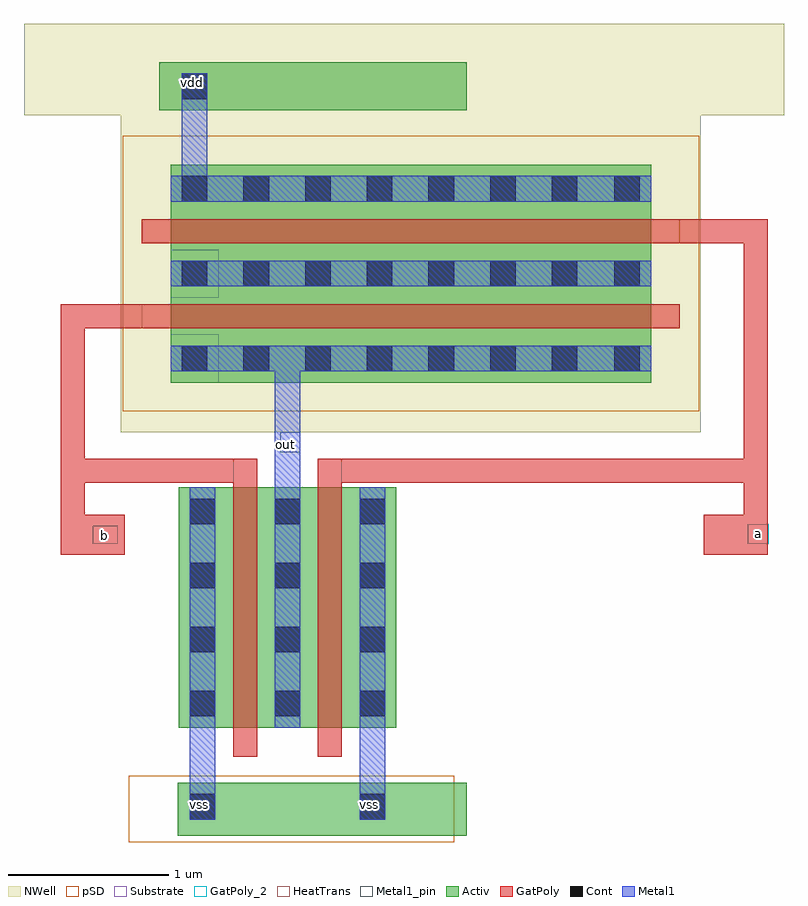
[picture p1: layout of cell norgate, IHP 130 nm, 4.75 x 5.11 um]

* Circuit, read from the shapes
.subckt norgate a b out vdd vss
XM1 out b vss vss sg13_lv_nmos w=1.5u l=0.15u
XM2 vss a out vss sg13_lv_nmos w=1.5u l=0.15u
XM3 n1 b out vdd sg13_lv_pmos w=3u l=0.15u
XM4 vdd a n1 vdd sg13_lv_pmos w=3u l=0.15u
.ends

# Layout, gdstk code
from math import pi, radians
import gdstk
lib = gdstk.Library(unit=1e-6, precision=5e-09)
def R(c, l, rs):  # rectangles x0, y0, x1, y1
    for r in rs: c.add(gdstk.rectangle(r[:2], r[2:], *l))
def A(c, l, x, y, w, h, nx, ny, dx, dy):  # array of equal rectangles
    R(c, l, [(x+i*dx, y+j*dy, x+i*dx+w, y+j*dy+h) for i in range(nx) for j in range(ny)])
Activ = (1, 0)
GatPoly = (5, 0)
GatPoly_2 = (5, 2)
Cont = (6, 0)
Metal1 = (8, 0)
Metal1_pin = (8, 2)
pSD = (14, 0)
NWell = (31, 0)
Substrate = (40, 0)
HeatTrans = (51, 0)

pmos_5 = lib.new_cell('pmos$5')
R(pmos_5, Activ, [(0,0,0.3,0.3), (0,0,0.83,3), (0.53,0,0.83,0.3)])
R(pmos_5, GatPoly, [(0.34,-0.18,0.49,3.18), (0.34,-0.18,0.49,3.18)])
A(pmos_5, Cont, 0.07, 0.07, 0.16, 0.16, 1, 7, 0, 0.385)
A(pmos_5, Cont, 0.6, 0.07, 0.16, 0.16, 1, 7, 0, 0.385)
R(pmos_5, Cont, [(0.07,2.77,0.23,2.93), (0.6,2.77,0.76,2.93)])
R(pmos_5, Metal1, [(0.07,0,0.23,3), (0.07,0,0.23,3), (0.6,0,0.76,3), (0.6,0,0.76,3)])
R(pmos_5, pSD, [(-0.18,-0.3,1.01,3.3)])
R(pmos_5, NWell, [(-0.31,-0.31,1.14,3.31)])
R(pmos_5, Substrate, [(0.53,0,0.83,0.3)])
R(pmos_5, HeatTrans, [(0.34,-0.18,0.49,3.18)])
pmos_5.add(gdstk.Label('pmos', (0.415,1.5), layer=63, texttype=0))
pmos_5.add(gdstk.Label('pmos', (0.415,1.5), layer=51, texttype=0))

nmos_1 = lib.new_cell('nmos$1')
R(nmos_1, Activ, [(0,0,0.3,0.3), (0,0,0.83,1.5), (0.53,0,0.83,0.3)])
R(nmos_1, GatPoly, [(0.34,-0.18,0.49,1.68)])
R(nmos_1, GatPoly_2, [(0.34,-0.18,0.49,1.68)])
A(nmos_1, Cont, 0.07, 0.07, 0.16, 0.16, 1, 4, 0, 0.4)
A(nmos_1, Cont, 0.6, 0.07, 0.16, 0.16, 1, 4, 0, 0.4)
R(nmos_1, Metal1, [(0.07,0,0.23,1.5), (0.6,0,0.76,1.5)])
R(nmos_1, Metal1_pin, [(0.07,0,0.23,1.5), (0.6,0,0.76,1.5)])
R(nmos_1, HeatTrans, [(0.34,-0.18,0.49,1.68)])
nmos_1.add(gdstk.Label('nmos', (0.415,0.75), layer=63, texttype=0))
nmos_1.add(gdstk.Label('nmos', (0.415,0.75), layer=51, texttype=0))

norgate = lib.new_cell('norgate')
R(norgate, Activ, [(-6.09,-2.62,-4.285,-2.29), (-6.205,1.91,-4.285,2.21)])
R(norgate, GatPoly, [(-6.82,-0.865,-6.42,-0.615), (-6.82,-0.865,-6.67,-0.415), (-2.805,-0.865,-2.405,-0.615), (-2.555,-0.865,-2.405,-0.415), (-6.82,-0.415,-6.67,0.55), (-6.82,-0.415,-6.315,-0.265), (-6.315,-0.415,-5.595,-0.265), (-5.215,-0.415,-2.405,-0.265), (-2.555,-0.415,-2.405,1.08), (-6.82,0.55,-6.315,0.7), (-2.955,1.08,-2.405,1.23)])
R(norgate, GatPoly_2, [(-6.62,-0.795,-6.465,-0.685), (-2.53,-0.795,-2.4,-0.675)])
R(norgate, Cont, [(-6.015,-2.52,-5.855,-2.36), (-4.955,-2.52,-4.795,-2.36), (-6.065,1.98,-5.905,2.14)])
R(norgate, Metal1, [(-6.015,-2.52,-5.855,-0.445), (-4.955,-2.52,-4.795,-0.445), (-5.485,-0.445,-5.325,0.44), (-6.065,1.34,-5.905,2.14)])
R(norgate, Metal1_pin, [(-6.015,-2.52,-5.855,-2.355), (-4.955,-2.52,-4.795,-2.355), (-5.45,-0.225,-5.325,-0.1), (-6.065,1.98,-5.905,2.14)])
R(norgate, pSD, [(-6.395,-2.66,-4.365,-2.245)])
R(norgate, NWell, [(-7.05,1.88,-2.305,2.45)])
norgate.add(gdstk.Reference(pmos_5, (-6.135,1.04), rotation=3*pi/2))
norgate.add(gdstk.Reference(pmos_5, (-6.135,1.57), rotation=3*pi/2))
norgate.add(gdstk.Reference(nmos_1, (-6.085,-1.945)))
norgate.add(gdstk.Reference(nmos_1, (-4.725,-0.445), rotation=pi))
norgate.add(gdstk.Label('vss', (-4.895,-2.425), layer=8, texttype=2))
norgate.add(gdstk.Label('vss', (-5.955,-2.425), layer=8, texttype=2))
norgate.add(gdstk.Label('out', (-5.415,-0.175), layer=8, texttype=2))
norgate.add(gdstk.Label('vdd', (-5.995,2.085), layer=8, texttype=2))
norgate.add(gdstk.Label('a', (-2.465,-0.735), layer=5, texttype=2))
norgate.add(gdstk.Label('b', (-6.55,-0.745), layer=5, texttype=2))

lib.write_gds('norgate.gds')
